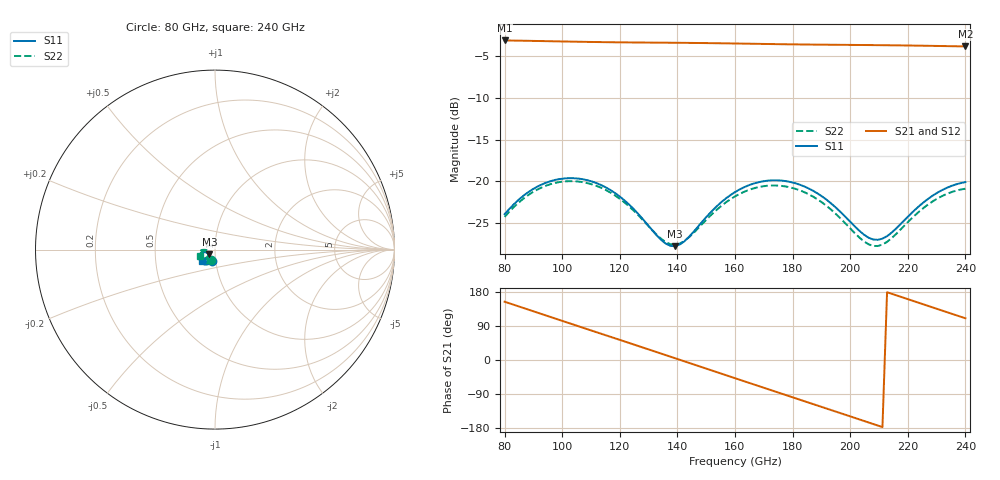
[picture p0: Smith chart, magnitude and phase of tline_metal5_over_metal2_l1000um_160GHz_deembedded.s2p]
! Created with skrf 2.0.1 (http://scikit-rf.org).
# GHz S DB R 50.0
!freq dBS11 angS11 dBS21 angS21 dBS12 angS12 dBS22 angS22
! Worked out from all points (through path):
!   101 points, 80 GHz to 240 GHz, reference 50 ohm
!   highest |S21| = -3.16 dB at 80 GHz (marker M1); lowest = -3.9 dB at 240 GHz (marker M2)
!   group delay of S21, straight-line fit = 7.01 ps
!   lowest |S11| = -27.7 dB at 139.2 GHz (marker M3), VSWR 1.09, Z = 46.9 - j2.46 ohm
!   |S11| at or under -10 dB: start of sweep to end of sweep
!   |S22| runs from -27.7 to -20.0 dB; largest |S21 - S12| = 7.5e-14
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80  -23.91 -106.1  -3.16 153.8  -3.16 153.8  -24.24 -109.2
88  -21.33 -112.4  -3.21 133.6  -3.21 133.6  -21.68 -116.0
94.4  -20.15 -122.0  -3.25 117.4  -3.25 117.4  -20.50 -126.0
100.8  -19.64 -133.0  -3.29 101.3  -3.29 101.3  -20.00 -137.3
107.2  -19.74 -144.1  -3.33 85.2  -3.33 85.2  -20.09 -148.7
120  -21.80 -162.8  -3.39 53.1  -3.39 53.1  -22.08 -167.8
128  -24.50 -166.4  -3.41 32.9  -3.41 32.9  -24.60 -171.7
134.4  -27.00 -156.8  -3.43 16.8  -3.43 16.8  -26.86 -163.7
139.2  -27.73 -140.4  -3.44 4.7  -3.44 4.7  -27.55 -149.7
148.8  -24.74 -118.7  -3.47 -19.6  -3.47 -19.6  -25.01 -130.3
160  -21.27 -124.4  -3.53 -48.0  -3.53 -48.0  -21.79 -136.0
168  -20.11 -135.2  -3.57 -68.2  -3.57 -68.2  -20.69 -146.9
174.4  -19.86 -144.8  -3.60 -84.3  -3.60 -84.3  -20.49 -156.8
180.8  -20.20 -154.2  -3.63 -100.4  -3.63 -100.4  -20.86 -166.5
187.2  -21.13 -162.3  -3.66 -116.5  -3.66 -116.5  -21.83 -174.9
196.8  -23.70 -168.0  -3.69 -140.7  -3.69 -140.7  -24.48 179.1
206.4  -26.72 -154.0  -3.71 -164.9  -3.71 -164.9  -27.51 -166.7
209.6  -26.97 -144.0  -3.73 -173.0  -3.73 -173.0  -27.71 -156.7
214.4  -26.11 -130.6  -3.74 174.8  -3.74 174.8  -26.78 -143.8
225.6  -22.46 -123.7  -3.80 146.4  -3.80 146.4  -23.13 -138.5
233.6  -20.75 -130.7  -3.84 126.2  -3.84 126.2  -21.48 -146.6
240  -20.08 -138.7  -3.88 110.1  -3.88 110.1  -20.87 -155.3
